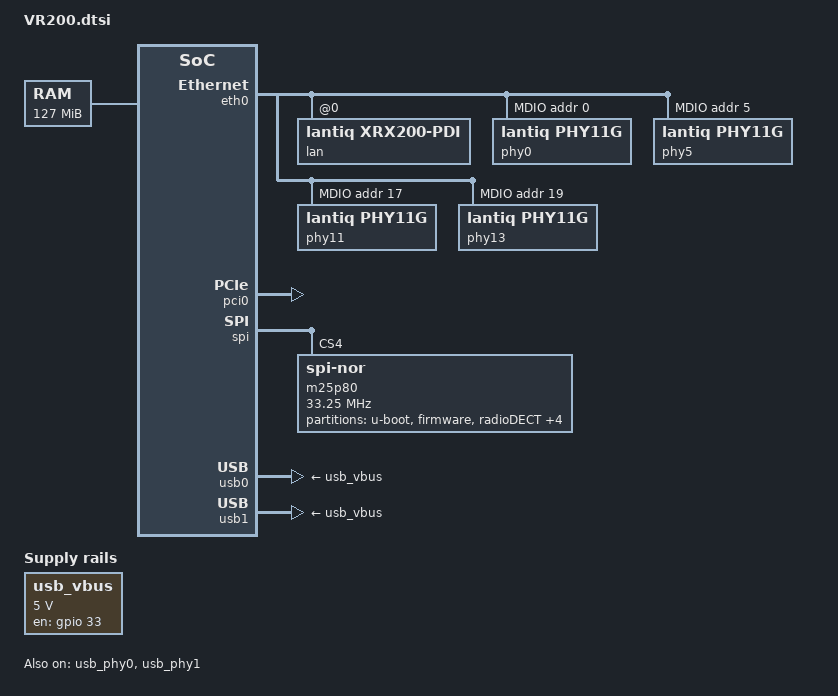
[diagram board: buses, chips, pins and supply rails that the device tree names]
#include "vr9.dtsi"

#include <dt-bindings/input/input.h>
#include <dt-bindings/mips/lantiq_rcu_gphy.h>

/ {
	memory@0 {
		reg = <0x0 0x7f00000>;
	};

	usb_vbus: regulator-usb-vbus {
		compatible = "regulator-fixed";

		regulator-name = "USB_VBUS";

		regulator-min-microvolt = <5000000>;
		regulator-max-microvolt = <5000000>;

		gpio = <&gpio 33 GPIO_ACTIVE_HIGH>;
		enable-active-high;
	};
};

&eth0 {
	lan: interface@0 {
		compatible = "lantiq,xrx200-pdi";
		#address-cells = <1>;
		#size-cells = <0>;
		reg = <0>;
		mtd-mac-address = <&romfile 0xf100>;
		lantiq,switch;

		ethernet@0 {
			compatible = "lantiq,xrx200-pdi-port";
			reg = <0>;
			phy-mode = "rgmii";
			phy-handle = <&phy0>;
			// gpios = <&gpio 42 GPIO_ACTIVE_LOW>;
		};
		ethernet@5 {
			compatible = "lantiq,xrx200-pdi-port";
			reg = <5>;
			phy-mode = "rgmii";
			phy-handle = <&phy5>;
		};
		ethernet@2 {
			compatible = "lantiq,xrx200-pdi-port";
			reg = <2>;
			phy-mode = "gmii";
			phy-handle = <&phy11>;
		};
		ethernet@3 {
			compatible = "lantiq,xrx200-pdi-port";
			reg = <4>;
			phy-mode = "gmii";
			phy-handle = <&phy13>;
		};
	};

	mdio@0 {
		#address-cells = <1>;
		#size-cells = <0>;
		compatible = "lantiq,xrx200-mdio";
		reg = <0>;

		phy0: ethernet-phy@0 {
			reg = <0x0>;
			compatible = "lantiq,phy11g", "ethernet-phy-ieee802.3-c22";
		};
		phy5: ethernet-phy@5 {
			reg = <0x5>;
			compatible = "lantiq,phy11g", "ethernet-phy-ieee802.3-c22";
		};
		phy11: ethernet-phy@11 {
			reg = <0x11>;
			compatible = "lantiq,phy11g", "ethernet-phy-ieee802.3-c22";
		};
		phy13: ethernet-phy@13 {
			reg = <0x13>;
			compatible = "lantiq,phy11g", "ethernet-phy-ieee802.3-c22";
		};
	};
};

&gphy0 {
	lantiq,gphy-mode = <GPHY_MODE_GE>;
};

&gphy1 {
	lantiq,gphy-mode = <GPHY_MODE_GE>;
};

&gpio {
	pinctrl-names = "default";
	pinctrl-0 = <&state_default>;

	state_default: pinmux {
		mdio {
			lantiq,groups = "mdio";
			lantiq,function = "mdio";
		};
		gphy-leds {
			lantiq,groups = "gphy0 led1", "gphy1 led1";
			lantiq,function = "gphy";
			lantiq,pull = <2>;
			lantiq,open-drain = <0>;
			lantiq,output = <1>;
		};
		phy-rst {
			lantiq,pins = "io42";
			lantiq,pull = <0>;
			lantiq,open-drain = <0>;
			lantiq,output = <1>;
		};
		pcie-rst {
			lantiq,pins = "io38";
			lantiq,pull = <0>;
			lantiq,output = <1>;
		};
	};
	pins_spi_default: pins_spi_default {
		spi_in {
			lantiq,groups = "spi_di";
			lantiq,function = "spi";
		};
		spi_out {
			lantiq,groups = "spi_do", "spi_clk",
				"spi_cs4";
			lantiq,function = "spi";
			lantiq,output = <1>;
		};
	};
};

&pci0 {
	status = "okay";
	gpio-reset = <&gpio 21 GPIO_ACTIVE_HIGH>;
};

&spi {
	status = "okay";

	pinctrl-names = "default";
	pinctrl-0 = <&pins_spi_default>;

	m25p80@4 {
		#address-cells = <1>;
		#size-cells = <1>;
		compatible = "jedec,spi-nor";
		reg = <4 0>;
		spi-max-frequency = <33250000>;
		m25p,fast-read;

		partitions {
			compatible = "fixed-partitions";
			#address-cells = <1>;
			#size-cells = <1>;

			partition@0 {
				reg = <0x0 0x20000>;
				label = "u-boot";
				read-only;
			};

			partition@20000 {
				reg = <0x20000 0xf90000>;
				label = "firmware";
			};

			partition@fb0000 {
				reg = <0xfb0000 0x10000>;
				label = "radioDECT";
				read-only;
			};

			partition@fc0000 {
				reg = <0xfc0000 0x10000>;
				label = "config";
				read-only;
			};

			romfile: partition@fd0000 {
				reg = <0xfd0000 0x10000>;
				label = "romfile";
				read-only;
			};

			partition@fe0000 {
				reg = <0xfe0000 0x10000>;
				label = "rom";
				read-only;
			};

			partition@ff0000 {
				reg = <0xff0000 0x10000>;
				label = "radio";
				read-only;
			};
		};
	};
};

&usb_phy0 {
	status = "okay";
};

&usb_phy1 {
	status = "okay";
};

&usb0 {
	status = "okay";
	vbus-supply = <&usb_vbus>;
};

&usb1 {
	status = "okay";
	vbus-supply = <&usb_vbus>;
};
